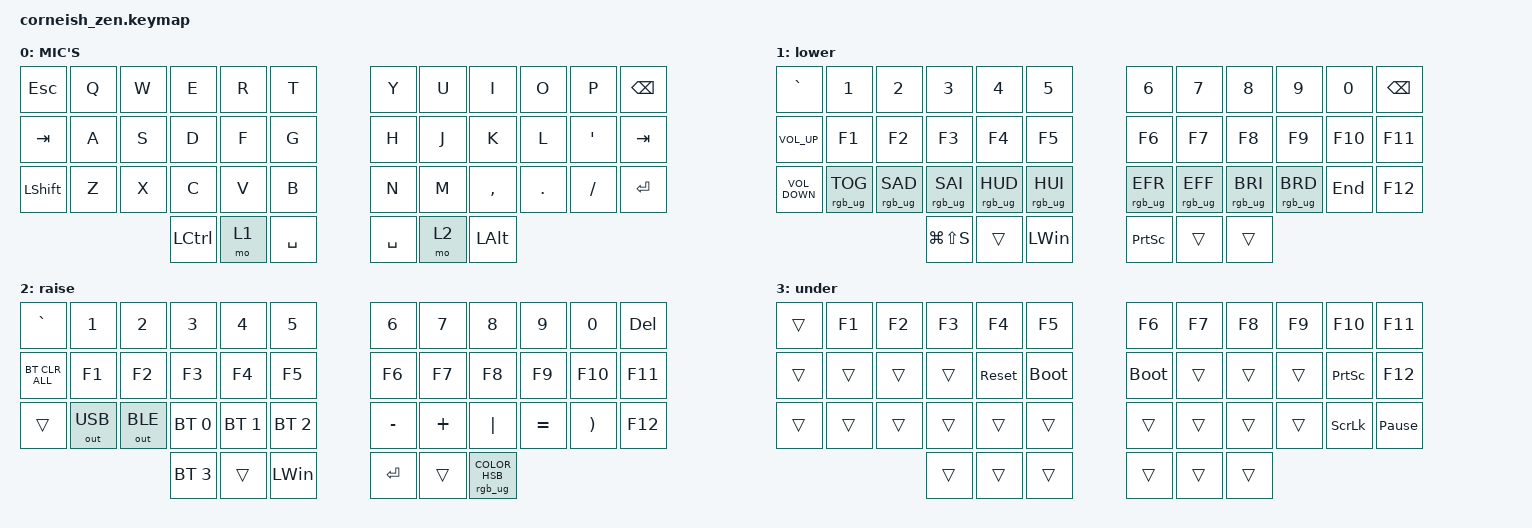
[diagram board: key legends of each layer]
/*
 * Copyright (c) 2020 The ZMK Contributors
 *
 * SPDX-License-Identifier: MIT
 */

#include <behaviors.dtsi>
#include <dt-bindings/zmk/bt.h>
#include <dt-bindings/zmk/keys.h>
#include <dt-bindings/zmk/outputs.h>
#include <dt-bindings/zmk/rgb.h>

/ {
    chosen {
        zmk,matrix_transform = &default_transform;

        // zmk,matrix_transform = &five_column_transform;
    };
};

/ {
    behaviors {
        td0: td0 {
            compatible = "zmk,behavior-tap-dance";
            label = "TD0";
            #binding-cells = <0>;
            bindings = <&kp LEFT_SHIFT>, <&kp CAPS>;
        };
    };

    keymap {
        compatible = "zmk,keymap";

        default_layer {
            display-name = "MIC'S";

            // --------------------------------------------------------------------------------
            // |  TAB |  Q  |  W  |  E  |  R  |  T  |   |  Y  |  U   |  I  |  O  |  P  | BKSP |
            // | CTRL |  A  |  S  |  D  |  F  |  G  |   |  H  |  J   |  K  |  L  |  ;  |  '   | 
            // | SHFT |  Z  |  X  |  C  |  V  |  B  |   |  N  |  M   |  ,  |  .  |  /  | ESC  |
            //                    | GUI | LWR | SPC |   | ENT | RSE  | ALT |

            bindings = <
&kp ESCAPE      &kp Q  &kp W  &kp E      &kp R  &kp T        &kp Y      &kp U  &kp I         &kp O    &kp P     &kp BSPC
&kp TAB         &kp A  &kp S  &kp D      &kp F  &kp G        &kp H      &kp J  &kp K         &kp L    &kp APOS  &kp TAB
&kp LEFT_SHIFT  &kp Z  &kp X  &kp C      &kp V  &kp B        &kp N      &kp M  &kp COMMA     &kp DOT  &kp FSLH  &kp ENTER
                              &kp LCTRL  &mo 1  &kp SPACE    &kp SPACE  &mo 2  &kp LEFT_ALT
            >;
        };

        lower_layer {
            display-name = "lower";

            // -----------------------------------------------------------------------------------------
            // |  TAB |  1  |  2  |  3  |  4  |  5  |   |  6  |  7  |  8  |  9  |  0  | BKSP |
            // | BTCLR| BT1 | BT2 | BT3 | BT4 | BT5 |   | LFT | DWN |  UP | RGT |     |      |
            // | SHFT |     |     |     |     |     |   |     |     |     |     |     |      |
            //                    | GUI |     | SPC |   | ENT |     | ALT |

            bindings = <
&kp GRAVE          &kp N1           &kp N2           &kp N3           &kp N4           &kp N5             &kp N6           &kp N7           &kp N8           &kp N9           &kp N0   &kp BSPC
&kp C_VOLUME_UP    &kp F1           &kp F2           &kp F3           &kp F4           &kp F5             &kp F6           &kp F7           &kp F8           &kp F9           &kp F10  &kp F11
&kp C_VOLUME_DOWN  &rgb_ug RGB_TOG  &rgb_ug RGB_SAD  &rgb_ug RGB_SAI  &rgb_ug RGB_HUD  &rgb_ug RGB_HUI    &rgb_ug RGB_EFR  &rgb_ug RGB_EFF  &rgb_ug RGB_BRI  &rgb_ug RGB_BRD  &kp END  &kp F12
                                                     &kp LG(LS(S))    &trans           &kp LEFT_WIN       &kp PRINTSCREEN  &trans           &trans
            >;
        };

        raise_layer {
            display-name = "raise";

            // -----------------------------------------------------------------------------------------
            // |  TAB |  !  |  @  |  #  |  $  |  %  |   |  ^  |  &  |  *  |  (  |  )  | BKSP |
            // | CTRL |     |     |     |     |     |   |  -  |  =  |  [  |  ]  |  \  |  `   |
            // | SHFT |     |     |     |     |     |   |  _  |  +  |  {  |  }  | "|" |  ~   |
            //                    | GUI |     | SPC |   | ENT |     | ALT |

            bindings = <
&kp GRAVE       &kp NUMBER_1  &kp NUMBER_2  &kp NUMBER_3  &kp NUMBER_4  &kp N5          &kp NUMBER_6  &kp N7    &kp N8                         &kp N9     &kp N0                 &kp DELETE
&bt BT_CLR_ALL  &kp F1        &kp F2        &kp F3        &kp F4        &kp F5          &kp F6        &kp F7    &kp F8                         &kp F9     &kp F10                &kp F11
&trans          &out OUT_USB  &out OUT_BLE  &bt BT_SEL 0  &bt BT_SEL 1  &bt BT_SEL 2    &kp MINUS     &kp PLUS  &kp PIPE                       &kp EQUAL  &kp RIGHT_PARENTHESIS  &kp F12
                                            &bt BT_SEL 3  &trans        &kp LEFT_WIN    &kp RET       &trans    &rgb_ug RGB_COLOR_HSB(48,0,0)
            >;
        };

        layer_3 {
            display-name = "under";
            bindings = <
&trans  &kp F1  &kp F2  &kp F3  &kp F4      &kp F5         &kp F6       &kp F7  &kp F8  &kp F9  &kp F10          &kp F11
&trans  &trans  &trans  &trans  &sys_reset  &bootloader    &bootloader  &trans  &trans  &trans  &kp PRINTSCREEN  &kp F12
&trans  &trans  &trans  &trans  &trans      &trans         &trans       &trans  &trans  &trans  &kp SCROLLLOCK   &kp PAUSE_BREAK
                        &trans  &trans      &trans         &trans       &trans  &trans
            >;
        };
    };
};
